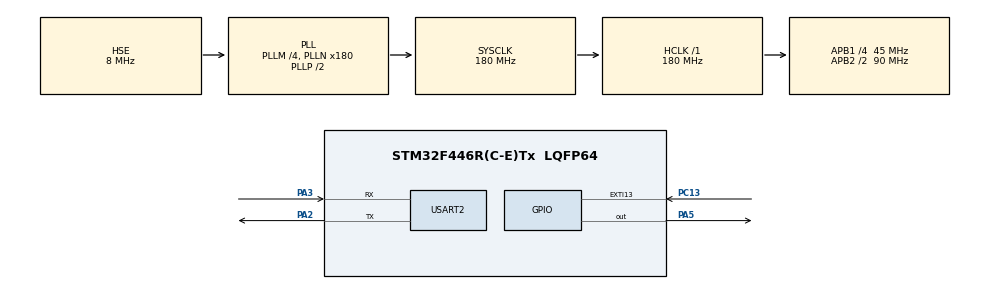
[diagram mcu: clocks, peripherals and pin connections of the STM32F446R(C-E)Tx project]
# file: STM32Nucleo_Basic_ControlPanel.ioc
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Mcu.Family=STM32F4
Mcu.Name=STM32F446R(C-E)Tx
Mcu.Package=LQFP64
NVIC.EXTI15_10_IRQn=true\:0\:0\:false\:false\:true\:true\:true\:true
NVIC.PriorityGroup=NVIC_PRIORITYGROUP_4
PA13.Mode=Serial_Wire
PA13.Signal=SYS_JTMS-SWDIO
PA14.Mode=Serial_Wire
PA14.Signal=SYS_JTCK-SWCLK
PA2.Mode=Asynchronous
PA2.Signal=USART2_TX
PA3.Mode=Asynchronous
PA3.Signal=USART2_RX
PA5.Signal=GPIO_Output
PC13.Signal=GPXTI13
PH0-OSC_IN.Mode=HSE-External-Oscillator
PH0-OSC_IN.Signal=RCC_OSC_IN
PH1-OSC_OUT.Mode=HSE-External-Oscillator
PH1-OSC_OUT.Signal=RCC_OSC_OUT
ProjectManager.HeapSize=0x200
ProjectManager.StackSize=0x400
ProjectManager.TargetToolchain=STM32CubeIDE
RCC.AHBFreq_Value=180000000
RCC.APB1CLKDivider=RCC_HCLK_DIV4
RCC.APB1Freq_Value=45000000
RCC.APB1TimFreq_Value=90000000
RCC.APB2CLKDivider=RCC_HCLK_DIV2
RCC.APB2Freq_Value=90000000
RCC.APB2TimFreq_Value=180000000
RCC.CortexFreq_Value=180000000
RCC.HCLKFreq_Value=180000000
RCC.HSE_VALUE=8000000
RCC.PLLM=4
RCC.PLLN=180
RCC.PLLSourceVirtual=RCC_PLLSOURCE_HSE
RCC.SYSCLKFreq_VALUE=180000000
RCC.SYSCLKSource=RCC_SYSCLKSOURCE_PLLCLK
RCC.USBFreq_Value=180000000
RCC.VCOOutputFreq_Value=360000000
USART2.VirtualMode=VM_ASYNC
board=custom

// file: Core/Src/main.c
/* USER CODE BEGIN Header */
/**
  ******************************************************************************
  * @file           : main.c
  * @brief          : Main program body
  ******************************************************************************
  * @attention
  *
  * Copyright (c) 2026 STMicroelectronics.
  * All rights reserved.
  *
  * This software is licensed under terms that can be found in the LICENSE file
  * in the root directory of this software component.
  * If no LICENSE file comes with this software, it is provided AS-IS.
  *
  ******************************************************************************
  */
/* USER CODE END Header */
#include "main.h"

/* USER CODE BEGIN Includes */
#include <stdio.h>
#include <string.h>
#include "modes.h"
#include "uart_manager.h"
/* USER CODE END Includes */

UART_HandleTypeDef huart2;

void SystemClock_Config(void);
static void MX_GPIO_Init(void);
static void MX_USART2_UART_Init(void);

/* USER CODE BEGIN 0 */

static Modes modes[] = {
		{1, 1000},
		{2, 500},
		{3, 100}
};

uint8_t currentMode = 0;

char modebuffer[50];
/* USER CODE END 0 */

int main(void)
{

  /* MCU Configuration--------------------------------------------------------*/

  /* Reset of all peripherals, Initializes the Flash interface and the Systick. */
  HAL_Init();

  /* Configure the system clock */
  SystemClock_Config();

  /* Initialize all configured peripherals */
  MX_GPIO_Init();
  MX_USART2_UART_Init();
  /* USER CODE BEGIN 2 */
  //Initial command display
  UART_Manager_DisplayCommands();
  /* USER CODE END 2 */

  /* Infinite loop */
  while (1)
  {

    /* USER CODE BEGIN 3 */
	  HAL_GPIO_TogglePin(GPIOA, GPIO_PIN_5);
	  HAL_Delay(modes[currentMode].delay);

  }
  /* USER CODE END 3 */
}

void SystemClock_Config(void)
{
  RCC_OscInitTypeDef RCC_OscInitStruct = {0};
  RCC_ClkInitTypeDef RCC_ClkInitStruct = {0};

  /** Configure the main internal regulator output voltage
  */
  __HAL_RCC_PWR_CLK_ENABLE();
  __HAL_PWR_VOLTAGESCALING_CONFIG(PWR_REGULATOR_VOLTAGE_SCALE1);

  /** Initializes the RCC Oscillators according to the specified parameters
  * in the RCC_OscInitTypeDef structure.
  */
  RCC_OscInitStruct.OscillatorType = RCC_OSCILLATORTYPE_HSE;
  RCC_OscInitStruct.HSEState = RCC_HSE_ON;
  RCC_OscInitStruct.PLL.PLLState = RCC_PLL_ON;
  RCC_OscInitStruct.PLL.PLLSource = RCC_PLLSOURCE_HSE;
  RCC_OscInitStruct.PLL.PLLM = 4;
  RCC_OscInitStruct.PLL.PLLN = 180;
  RCC_OscInitStruct.PLL.PLLP = RCC_PLLP_DIV2;
  RCC_OscInitStruct.PLL.PLLQ = 2;
  RCC_OscInitStruct.PLL.PLLR = 2;
  if (HAL_RCC_OscConfig(&RCC_OscInitStruct) != HAL_OK)
  {
    Error_Handler();
  }

  /** Activate the Over-Drive mode
  */
  if (HAL_PWREx_EnableOverDrive() != HAL_OK)
  {
    Error_Handler();
  }

  /** Initializes the CPU, AHB and APB buses clocks
  */
  RCC_ClkInitStruct.ClockType = RCC_CLOCKTYPE_HCLK|RCC_CLOCKTYPE_SYSCLK
                              |RCC_CLOCKTYPE_PCLK1|RCC_CLOCKTYPE_PCLK2;
  RCC_ClkInitStruct.SYSCLKSource = RCC_SYSCLKSOURCE_PLLCLK;
  RCC_ClkInitStruct.AHBCLKDivider = RCC_SYSCLK_DIV1;
  RCC_ClkInitStruct.APB1CLKDivider = RCC_HCLK_DIV4;
  RCC_ClkInitStruct.APB2CLKDivider = RCC_HCLK_DIV2;

  if (HAL_RCC_ClockConfig(&RCC_ClkInitStruct, FLASH_LATENCY_5) != HAL_OK)
  {
    Error_Handler();
  }
}

static void MX_USART2_UART_Init(void)
{

  huart2.Instance = USART2;
  huart2.Init.BaudRate = 115200;
  huart2.Init.WordLength = UART_WORDLENGTH_8B;
  huart2.Init.StopBits = UART_STOPBITS_1;
  huart2.Init.Parity = UART_PARITY_NONE;
  huart2.Init.Mode = UART_MODE_TX_RX;
  huart2.Init.HwFlowCtl = UART_HWCONTROL_NONE;
  huart2.Init.OverSampling = UART_OVERSAMPLING_16;
  if (HAL_UART_Init(&huart2) != HAL_OK)
  {
    Error_Handler();
  }

}

static void MX_GPIO_Init(void)
{
  GPIO_InitTypeDef GPIO_InitStruct = {0};

  /* GPIO Ports Clock Enable */
  __HAL_RCC_GPIOC_CLK_ENABLE();
  __HAL_RCC_GPIOH_CLK_ENABLE();
  __HAL_RCC_GPIOA_CLK_ENABLE();

  /*Configure GPIO pin Output Level */
  HAL_GPIO_WritePin(GPIOA, GPIO_PIN_5, GPIO_PIN_RESET);

  /*Configure GPIO pin : PC13 */
  GPIO_InitStruct.Pin = GPIO_PIN_13;
  GPIO_InitStruct.Mode = GPIO_MODE_IT_RISING;
  GPIO_InitStruct.Pull = GPIO_NOPULL;
  HAL_GPIO_Init(GPIOC, &GPIO_InitStruct);

  /*Configure GPIO pin : PA5 */
  GPIO_InitStruct.Pin = GPIO_PIN_5;
  GPIO_InitStruct.Mode = GPIO_MODE_OUTPUT_PP;
  GPIO_InitStruct.Pull = GPIO_NOPULL;
  GPIO_InitStruct.Speed = GPIO_SPEED_FREQ_LOW;
  HAL_GPIO_Init(GPIOA, &GPIO_InitStruct);

  /* EXTI interrupt init*/
  HAL_NVIC_SetPriority(EXTI15_10_IRQn, 0, 0);
  HAL_NVIC_EnableIRQ(EXTI15_10_IRQn);

}

/* USER CODE BEGIN 4 */

//Interrupt function - Handle mode change via B1
void HAL_GPIO_EXTI_Callback(uint16_t GPIO_Pin)
{
  /* Prevent unused argument(s) compilation warning */
  UNUSED(GPIO_Pin);

  if(GPIO_Pin == GPIO_PIN_13){
	  //TOGGLE LED: HAL_GPIO_TogglePin(GPIOA, GPIO_PIN_5);
	  currentMode++;

	  if(currentMode >= 3){
		  currentMode = 0;
	  }

	  //Print current mode
	  //TODO: Add a function to print the new mode (As this needs to be done for when the mode is changed via interrupt and also via UART command)
	  sprintf(modebuffer, "Mode: %d\r\n", currentMode+1);
	  UART_Manager_DisplayMode(modebuffer);

  }

}

/* USER CODE END 4 */

void Error_Handler(void)
{
  __disable_irq();
  while (1)
  {
  }
}
